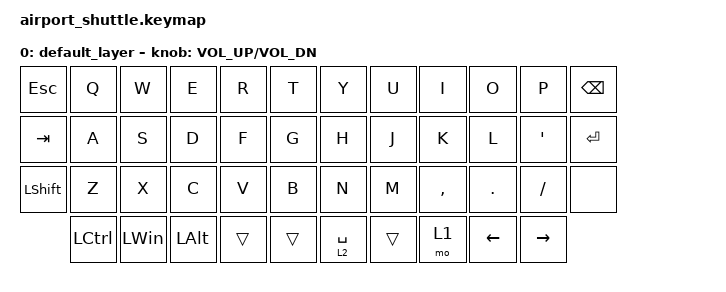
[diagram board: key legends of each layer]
#include <behaviors.dtsi>
#include <dt-bindings/zmk/keys.h>
#include <dt-bindings/zmk/bt.h>

#define DEFAULT 0
#define LOWER   1
#define RAISE   2
#define GAMING  3

/ {
  keymap {
    compatible = "zmk,keymap";

    default_layer {
// -----------------------------------------------------------------------------------------
// |  ESC  |  Q   |  W   |  E   |  R   |  T   |   Y   |  U    |  I   |  O   |   P   | BSPC   |
// |  TAB  |  A   |  S   |  D   |  F   |  G   |   H   |  J    |  K   |  L   |   ;   |  RET   |
// | SHIFT |  Z   |  X   |  C   |  V   |  B   |   N   |  M    |  ,   |  .   |   UP  |  ---   |
// | LCTRL | LGUI | LALT | ---  | ---- |     SPACE    |  ---- | ---- | FN | LFT  |  RT |
      bindings = <
  &kp ESC  &kp Q   &kp W &kp E &kp R &kp T  &kp Y   &kp U  &kp I    &kp O   &kp P    &kp BKSP
  &kp TAB  &kp A   &kp S &kp D &kp F &kp G  &kp H   &kp J  &kp K    &kp L   &kp SQT &kp RET
  &kp LSHFT  &kp Z   &kp X &kp C &kp V &kp B  &kp N   &kp M  &kp CMMA &kp DOT &kp SLASH  &none
  &kp LCTRL  &kp LWIN &kp LALT &trans &trans &lt 2 SPC &trans &mo 1 &kp LEFT &kp RIGHT
      >;
      sensor-bindings = <&inc_dec_kp C_VOL_UP C_VOL_DN>;
    };

  };
};
